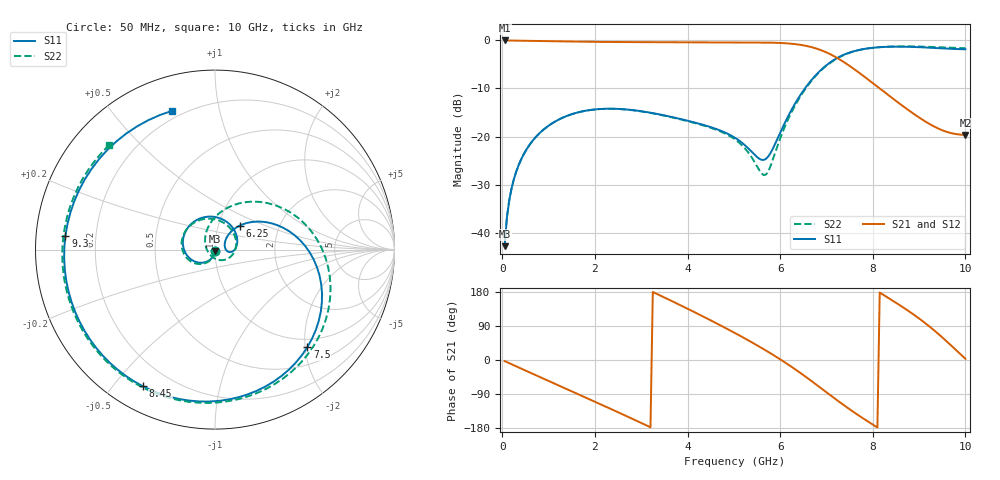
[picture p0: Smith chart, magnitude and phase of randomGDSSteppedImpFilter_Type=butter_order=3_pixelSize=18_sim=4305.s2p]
! freq	dB(S11)	phase(S11)	dB(S12)	phase(S12)
!  dB(S21)	phase(S21)	dB(S22)	phase(S22)
!S-par simulation data
#  GHz  S  DB  R 50
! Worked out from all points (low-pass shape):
!   200 points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, 50 MHz to 10 GHz, reference 50 ohm
!   highest |S21| = 0.00 dB at 50 MHz (marker M1); lowest = -19.7 dB at 10 GHz (marker M2)
!   |S21| within 3 dB of the highest: start of sweep to 7.11 GHz
!   lowest |S11| = -42.8 dB at 50 MHz (marker M3), VSWR 1.01, Z = 50 - j0.722 ohm
!   |S11| at or under -10 dB: start of sweep to 6.534 GHz
!   |S22| runs from -42.8 to -1.2 dB; largest |S21 - S12| = 0
!   S11 on the Smith chart (normalised r, x): 50 MHz: 1.00, -0.01; 6.25 GHz: 1.26, +0.35; 7.5 GHz: 0.83, -2.05; 8.45 GHz: 0.10, -0.60; 9.3 GHz: 0.09, +0.05; 10 GHz: 0.16, +0.73
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0.05  -42.81 -92.4  -0.00 -2.8  -0.00 -2.8  -42.80 -92.0
0.1  -36.80 -95.6  -0.01 -5.6  -0.01 -5.6  -36.79 -95.0
0.2  -30.81 -101.6  -0.02 -11.2  -0.02 -11.2  -30.80 -100.4
0.5  -23.05 -119.4  -0.06 -27.8  -0.06 -27.8  -23.05 -116.4
1.15  -16.82 -157.7  -0.16 -63.6  -0.16 -63.6  -16.82 -150.5
1.75  -14.72 166.9  -0.26 -96.4  -0.26 -96.4  -14.72 178.4
2.65  -14.34 113.8  -0.34 -146.3  -0.34 -146.3  -14.36 131.6
3.4  -15.40 70.0  -0.36 170.8  -0.36 170.8  -15.46 90.1
4.3  -17.46 22.1  -0.39 117.1  -0.39 117.1  -17.58 31.9
5.05  -20.41 -7.3  -0.40 69.5  -0.40 69.5  -20.78 -29.9
5.7  -24.60 23.2  -0.44 24.5  -0.44 24.5  -27.86 -157.4
6.25  -14.36 44.1  -0.69 -18.3  -0.69 -18.3  -14.85 90.0
6.7  -7.96 17.6  -1.45 -57.6  -1.45 -57.6  -8.13 41.3
7.15  -4.12 -18.0  -3.21 -99.0  -3.21 -99.0  -4.20 -4.0
7.5  -2.52 -46.5  -5.30 -130.0  -5.30 -130.0  -2.56 -36.6
7.95  -1.58 -81.1  -8.51 -166.6  -8.51 -166.6  -1.59 -73.7
8.35  -1.32 -110.5  -11.48 162.7  -11.48 162.7  -1.28 -103.3
8.45  -1.30 -117.8  -12.22 155.0  -12.22 155.0  -1.25 -110.4
8.9  -1.36 -151.9  -15.38 118.4  -15.38 118.4  -1.25 -141.8
9.3  -1.55 174.6  -17.79 80.9  -17.79 80.9  -1.36 -170.4
9.65  -1.73 142.1  -19.18 43.1  -19.18 43.1  -1.50 163.2
10  -1.84 107.2  -19.65 3.2  -19.65 3.2  -1.63 135.2
